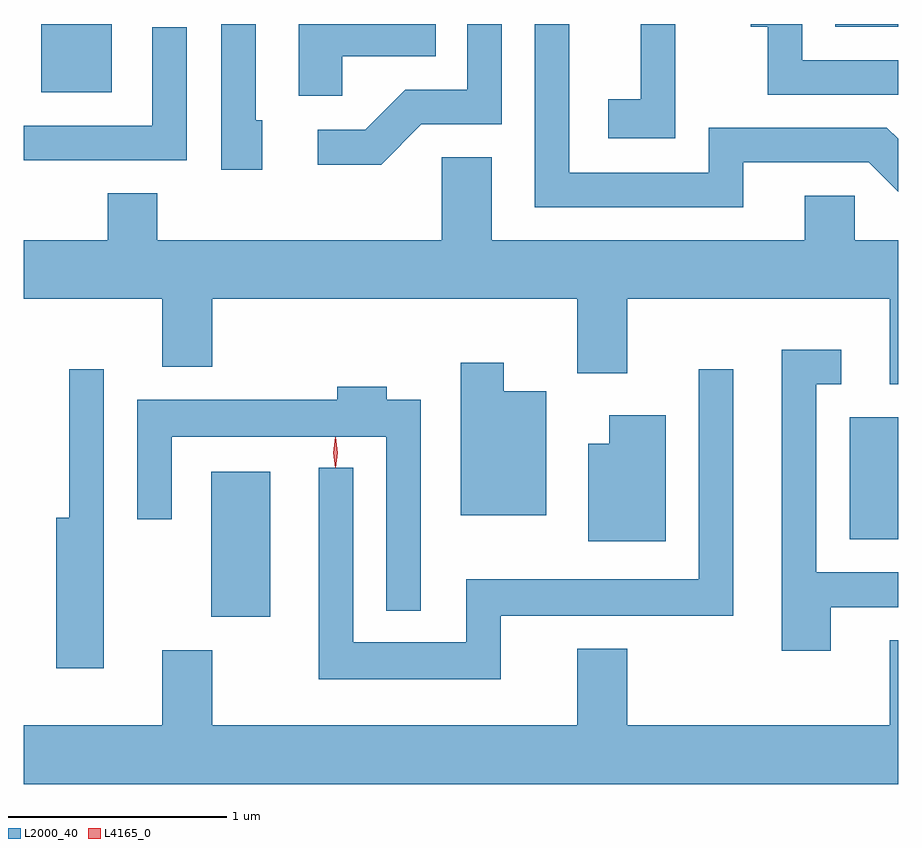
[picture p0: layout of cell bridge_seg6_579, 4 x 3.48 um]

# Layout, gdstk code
import gdstk
lib = gdstk.Library(unit=1e-6, precision=1e-09)
def R(c, l, rs):  # rectangles x0, y0, x1, y1
    for r in rs: c.add(gdstk.rectangle(r[:2], r[2:], *l))
def P(c, l, *ps):  # polygons
    for p in ps: c.add(gdstk.Polygon(p, *l))
L2000_40 = (2000, 40)
L4165_0 = (4165, 0)

bridge_seg6_579 = lib.new_cell('bridge_seg6_579')
R(bridge_seg6_579, L2000_40, [(540.126,1630.721,540.394,1631.384), (543.046,1631.076,543.268,1631.634), (539.346,1633.121,539.669,1633.434), (542.981,1633.421,543.268,1633.434)])
P(bridge_seg6_579, L2000_40, [(543.268,1633.269),(542.829,1633.269),(542.829,1633.434),(542.593,1633.434),(542.593,1633.421),(542.671,1633.421),(542.671,1633.111),(543.268,1633.111)],
  [(541.087,1632.976),(541.454,1632.976),(541.454,1633.434),(541.296,1633.434),(541.296,1633.134),(541.014,1633.134),(540.829,1632.949),(540.613,1632.949),(540.613,1632.791),(540.902,1632.791)],
  [(540.359,1632.994),(540.329,1632.994),(540.329,1633.434),(540.171,1633.434),(540.171,1632.766),(540.359,1632.766)],
  [(542.559,1632.801),(543.134,1632.801),(543.268,1632.667),(543.268,1632.908),(543.217,1632.959),(542.401,1632.959),(542.401,1632.754),(541.764,1632.754),(541.764,1633.434),(541.606,1633.434),(541.606,1632.596),(542.559,1632.596)],
  [(540.724,1633.286),(541.153,1633.286),(541.153,1633.434),(540.526,1633.434),(540.526,1633.106),(540.724,1633.106)],
  [(542.249,1633.434),(542.091,1633.434),(542.091,1633.089),(541.941,1633.089),(541.941,1632.911),(542.249,1632.911)],
  [(540.014,1633.418),(539.856,1633.418),(539.856,1632.969),(539.268,1632.969),(539.268,1632.811),(540.014,1632.811)],
  [(543.268,1632.444),(543.069,1632.444),(543.069,1632.649),(542.841,1632.649),(542.841,1632.444),(541.409,1632.444),(541.409,1632.824),(541.181,1632.824),(541.181,1632.444),(539.879,1632.444),(539.879,1632.659),(539.651,1632.659),(539.651,1632.444),(539.268,1632.444),(539.268,1632.176),(539.901,1632.176),(539.901,1631.866),(540.129,1631.866),(540.129,1632.176),(541.801,1632.176),(541.801,1631.836),(542.029,1631.836),(542.029,1632.176),(543.231,1632.176),(543.231,1631.786),(543.268,1631.786)],
  [(542.959,1630.766),(543.268,1630.766),(543.268,1630.924),(542.894,1630.924),(542.894,1631.786),(543.008,1631.786),(543.008,1631.944),(542.736,1631.944),(542.736,1630.566),(542.959,1630.566)],
  [(541.659,1631.754),(541.464,1631.754),(541.464,1631.884),(541.266,1631.884),(541.266,1631.186),(541.659,1631.186)],
  [(539.634,1631.853),(539.476,1631.853),(539.476,1631.174),(539.416,1631.174),(539.416,1630.486),(539.634,1630.486)],
  [(541.449,1630.726),(542.514,1630.726),(542.514,1631.853),(542.356,1631.853),(542.356,1630.894),(541.291,1630.894),(541.291,1630.604),(540.774,1630.604),(540.774,1631.403),(540.616,1631.403),(540.616,1630.436),(541.449,1630.436)],
  [(541.084,1631.714),(540.929,1631.714),(540.929,1631.774),(540.701,1631.774),(540.701,1631.714),(539.786,1631.714),(539.786,1631.168),(539.944,1631.168),(539.944,1631.546),(540.926,1631.546),(540.926,1630.748),(541.084,1630.748)],
  [(542.204,1631.644),(541.946,1631.644),(541.946,1631.514),(541.851,1631.514),(541.851,1631.066),(542.204,1631.066)],
  [(543.268,1630.614),(543.231,1630.614),(543.231,1630.224),(542.029,1630.224),(542.029,1630.574),(541.801,1630.574),(541.801,1630.224),(540.129,1630.224),(540.129,1630.569),(539.901,1630.569),(539.901,1630.224),(539.268,1630.224),(539.268,1629.956),(543.268,1629.956)])
P(bridge_seg6_579, L4165_0, [(540.693,1631.404),(540.693,1631.404),(540.683,1631.473),(540.693,1631.542),(540.693,1631.543),(540.694,1631.542),(540.703,1631.473),(540.694,1631.404)])

lib.write_gds('bridge_seg6_579.gds')
